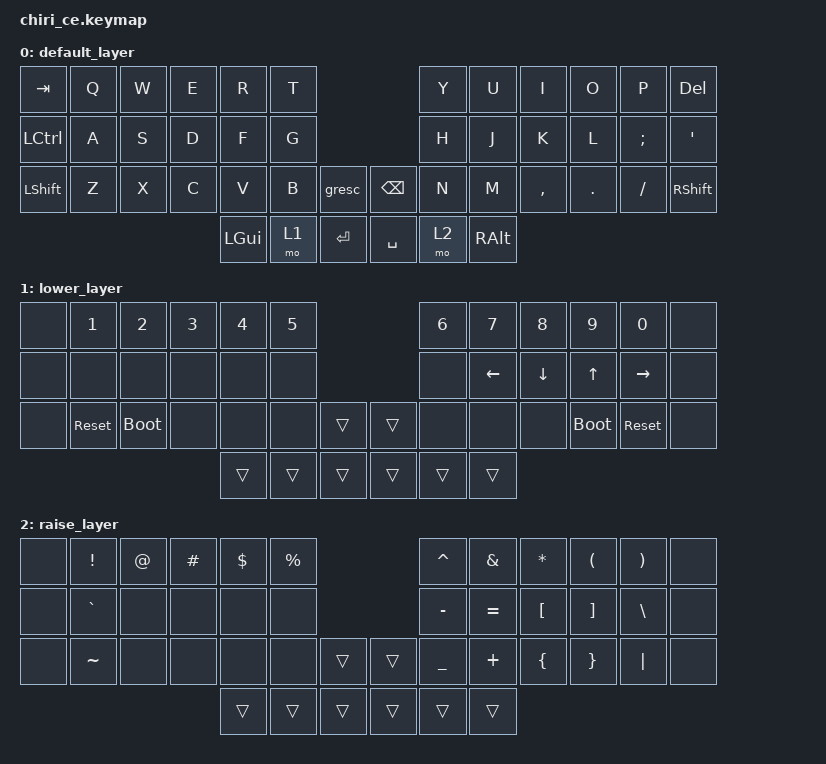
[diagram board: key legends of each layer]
#include <behaviors.dtsi>
#include <dt-bindings/zmk/keys.h>

/ {
    keymap {
        compatible = "zmk,keymap";

        default_layer {
            bindings = <
&kp TAB    &kp Q   &kp W   &kp E   &kp R     &kp T                         &kp Y   &kp U     &kp I      &kp O    &kp P     &kp DELETE
&kp LCTRL  &kp A   &kp S   &kp D   &kp F     &kp G                         &kp H   &kp J     &kp K      &kp L    &kp SEMI  &kp SQT
&kp LSHFT  &kp Z   &kp X   &kp C   &kp V     &kp B   &gresc     &kp BSPC   &kp N   &kp M     &kp COMMA  &kp DOT  &kp FSLH  &kp RSHFT
                                   &kp LGUI  &mo 1   &kp ENTER  &kp SPACE  &mo 2   &kp RALT
            >;
        };

        lower_layer {
            bindings = <
&none  &kp N1      &kp N2       &kp N3  &kp N4  &kp N5                  &kp N6  &kp N7    &kp N8    &kp N9       &kp N0      &none
&none  &none       &none        &none   &none   &none                   &none   &kp LEFT  &kp DOWN  &kp UP       &kp RIGHT   &none
&none  &sys_reset  &bootloader  &none   &none   &none   &trans  &trans  &none   &none     &none     &bootloader  &sys_reset  &none
                                        &trans  &trans  &trans  &trans  &trans  &trans
            >;
        };

        raise_layer {
            bindings = <
&none  &kp EXCL   &kp AT  &kp HASH  &kp DLLR  &kp PRCNT                  &kp CARET  &kp AMPS   &kp ASTRK  &kp LPAR  &kp RPAR  &none
&none  &kp GRAVE  &none   &none     &none     &none                      &kp MINUS  &kp EQUAL  &kp LBKT   &kp RBKT  &kp BSLH  &none
&none  &kp TILDE  &none   &none     &none     &none      &trans  &trans  &kp UNDER  &kp PLUS   &kp LBRC   &kp RBRC  &kp PIPE  &none
                                    &trans    &trans     &trans  &trans  &trans     &trans
            >;
        };
    };
};
